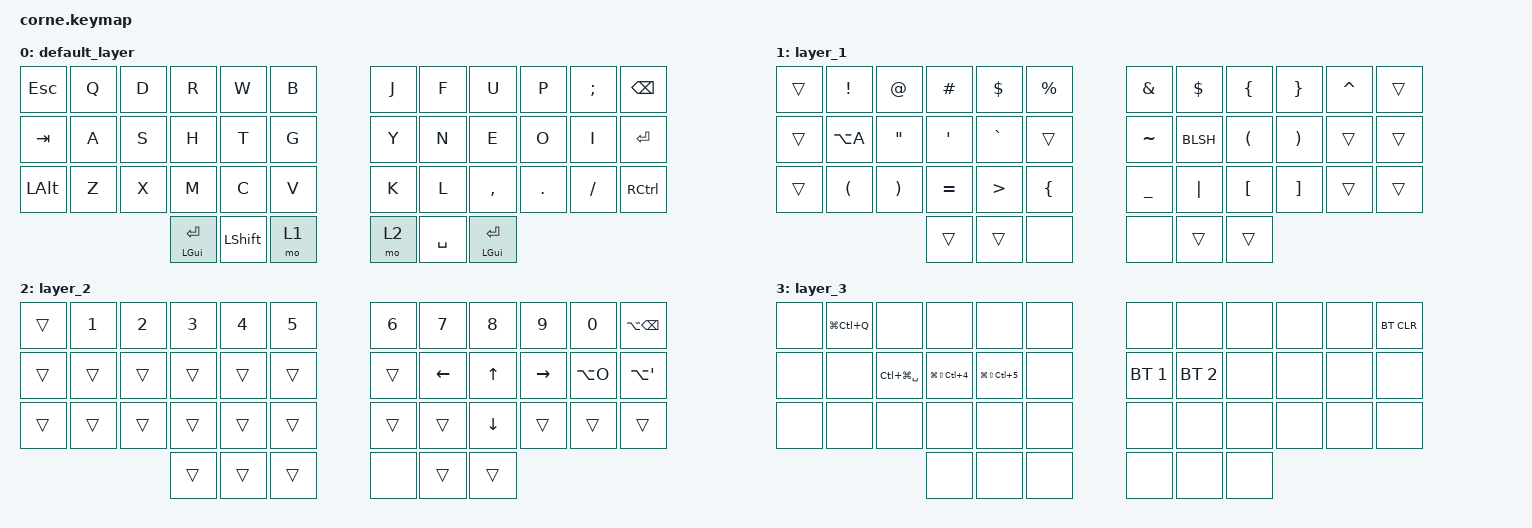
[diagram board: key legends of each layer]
/*
 * Copyright (c) 2020 The ZMK Contributors
 *
 * SPDX-License-Identifier: MIT
 */
 
#include <dt-bindings/zmk/outputs.h>
#include <behaviors.dtsi>
#include <dt-bindings/zmk/keys.h>
#include <dt-bindings/zmk/bt.h>

/ {     

       combos {
                compatible = "zmk,combos";
                combo_layer3 {
                        timeout-ms = <50>;
                        key-positions = <39 38>;
                        bindings = <&mo 3>;
                };
       };
         
        keymap {
                compatible = "zmk,keymap";

                default_layer {
// -----------------------------------------------------------------------------------------
// | ESC  |  Q  |  d  |  r  |  w  |  b  | // |  j  |  f   |  u  |  p  |  ;  | BKSP  |
// | TAB  |  a  |  s  |  h  |  t  |  g  | // |  y  |  n   |  e  |  o  |  i  | ENT   |
// | LALT |  z  |  x  |  m  |  c  |  v  | // |  k  |  l   |  ,  |  .  |  /  | RCTRL |
//                    | GUI | SHFT| L1  | // | L2  |  SPC | ENT |
                       
                       bindings = <
   &kp ESC     &kp Q          &kp D      &kp R   &kp W   &kp B     &kp J    &kp F   &kp U      &kp P    &kp SEMI  &kp BSPC
   &kp TAB     &kp A          &kp S      &kp H   &kp T   &kp G     &kp Y    &kp N   &kp E      &kp O    &kp I     &kp RET
   &kp LALT    &kp Z          &kp X      &kp M   &kp C   &kp V     &kp K    &kp L   &kp COMMA  &kp DOT  &kp FSLH  &kp RCTRL
               &mt LGUI RET   &kp LSHIFT &mo 1   &mo 2   &kp SPACE &mt LGUI RET
                        >;
                };
                
                layer_1 {
// -----------------------------------------------------------------------------------------
// |      |  !      |  @  |  #  |  $  |  %  | // |  &  |  $  |  {  |  }  |  ^  |      |
// |      | å.      |  "  |  '  |  `  |     | // |  ~  |  \  |  (  |  )  |     |      |
// |      |    (    |  )  |  =  |  >  |  {  | // |  _  |  |  |  [  |  ]  |     |      |
//                        |     |     |     | // |     |     |     |
                       
                       bindings = <
   &trans   &kp EXCL   &kp AT    &kp HASH  &kp DLLR   &kp PRCNT   &kp AMPS    &kp DLLR   &kp LBRC    &kp RBRC  &kp CARET   &trans
   &trans   &kp LA(A)  &kp DQT   &kp SQT   &kp GRAVE  &trans      &kp TILDE   &kp BLSH   &kp LPAR    &kp RPAR  &trans      &trans
   &trans   &kp LPAR   &kp RPAR  &kp EQUAL &kp GT     &kp LBRC    &kp UNDER   &kp PIPE   &kp LBKT    &kp RBKT  &trans      &trans
                    	            &trans    &trans     &none       &none       &trans     &trans
                        >;
                };
                
                layer_2 {
// -----------------------------------------------------------------------------------------
// |      |  1  |  2  |  3  |  4  |  5  | // |  6  |  7  |  8  |  9  |  0      | ALT + BKSP |
// |      |     |     |     |     |     | // |     | LFT |  UP | RGT |  Ø      | Æ          |
// |      |     |     |     |     |     | // |     |     | DWN |     |         |            |
//                    |     |     |     | // |     |     |     |
                        
                        bindings = <                     
   &trans        &kp N1        &kp N2       &kp N3       &kp N4       &kp N5         &kp N6   &kp N7   &kp N8     &kp N9    &kp N0     &kp LA(BSPC)
   &trans        &trans        &trans       &trans       &trans       &trans         &trans   &kp LEFT &kp UP     &kp RIGHT &kp LA(O)  &kp LA(SQT)
   &trans        &trans        &trans       &trans       &trans       &trans         &trans   &trans   &kp DOWN   &trans    &trans     &trans
                              	         &trans       &trans       &trans         &none    &trans   &trans
                        >;
                };
                
                layer_3 {
// -----------------------------------------------------------------------------------------
// |       | lockscreen |     |     |          |          |  //  |     |         |     |     |         | BTclear |
// |       |            |     | emo | scrnsht4 | scrnsht5 |  //  |     |   BT1   | BT2 |     |         |         |
// |       |            |     |     |          |          |  //  |     |         |     |     |         |         |
//                            |     |          |          |  //  |     |         |     |
                        
                        bindings = <
   &none       &kp LG(LC(Q)) &none              &none              &none                   &none   &none        &none         &none       &none       &none       &bt BT_CLR    
   &none       &none         &kp LC(LG(SPACE))  &kp LG(LS(LC(N4))) &kp LG(LS(LC(N5)))      &none   &bt BT_SEL 1 &bt BT_SEL 2  &none       &none       &none       &none    
   &none       &none         &none              &none              &none                   &none   &none        &none         &none       &none       &none       &none    
                                                &none              &none                   &none   &none        &none         &none    
                        >;
                };
        };
};
